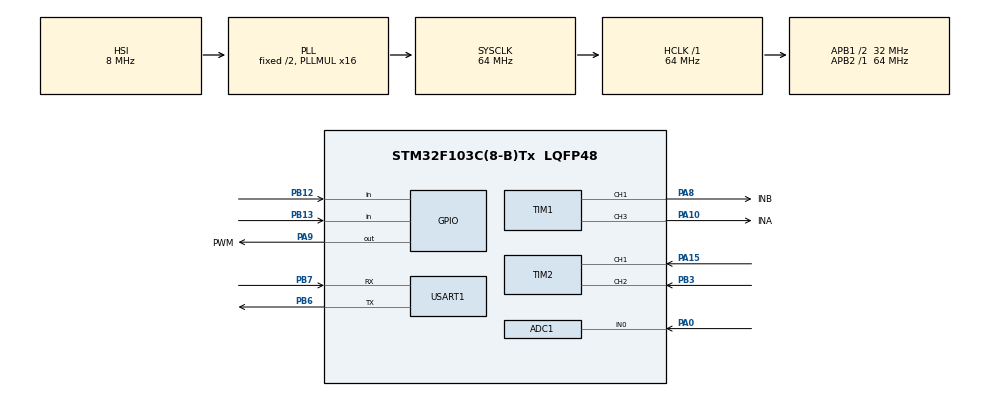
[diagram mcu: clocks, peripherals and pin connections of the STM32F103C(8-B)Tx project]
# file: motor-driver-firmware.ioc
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ADC1.Channel-0\#ChannelRegularConversion=ADC_CHANNEL_0
ADC1.NbrOfConversionFlag=1
ADC1.Rank-0\#ChannelRegularConversion=1
ADC1.SamplingTime-0\#ChannelRegularConversion=ADC_SAMPLETIME_1CYCLE_5
ADC1.master=1
Mcu.Family=STM32F1
Mcu.Name=STM32F103C(8-B)Tx
Mcu.Package=LQFP48
NVIC.PriorityGroup=NVIC_PRIORITYGROUP_4
NVIC.TIM3_IRQn=true\:0\:0\:false\:false\:true\:true\:true
NVIC.USART1_IRQn=true\:0\:0\:false\:false\:true\:true\:true
PA0-WKUP.Signal=ADCx_IN0
PA10.GPIO_Label=INA
PA10.Signal=S_TIM1_CH3
PA13.Mode=Serial_Wire
PA13.Signal=SYS_JTMS-SWDIO
PA14.Mode=Serial_Wire
PA14.Signal=SYS_JTCK-SWCLK
PA15.Signal=S_TIM2_CH1_ETR
PA8.GPIO_Label=INB
PA8.Signal=S_TIM1_CH1
PA9.GPIO_Label=PWM
PA9.PinState=GPIO_PIN_SET
PA9.Signal=GPIO_Output
PB12.GPIO_PuPd=GPIO_PULLUP
PB12.Signal=GPIO_Input
PB13.GPIO_PuPd=GPIO_PULLUP
PB13.Signal=GPIO_Input
PB3.Signal=S_TIM2_CH2
PB6.Mode=Asynchronous
PB6.Signal=USART1_TX
PB7.Mode=Asynchronous
PB7.Signal=USART1_RX
ProjectManager.HeapSize=0x200
ProjectManager.StackSize=0x400
ProjectManager.TargetToolchain=STM32CubeIDE
RCC.ADCPresc=RCC_ADCPCLK2_DIV6
RCC.AHBFreq_Value=64000000
RCC.APB1CLKDivider=RCC_HCLK_DIV2
RCC.APB1Freq_Value=32000000
RCC.APB1TimFreq_Value=64000000
RCC.APB2Freq_Value=64000000
RCC.APB2TimFreq_Value=64000000
RCC.HCLKFreq_Value=64000000
RCC.PLLMUL=RCC_PLL_MUL16
RCC.SYSCLKFreq_VALUE=64000000
RCC.SYSCLKSource=RCC_SYSCLKSOURCE_PLLCLK
RCC.USBFreq_Value=64000000
SH.ADCx_IN0.0=ADC1_IN0,IN0
SH.S_TIM1_CH1.0=TIM1_CH1,PWM Generation1 CH1
SH.S_TIM1_CH3.0=TIM1_CH3,PWM Generation3 CH3
SH.S_TIM2_CH1_ETR.0=TIM2_CH1,Encoder_Interface
SH.S_TIM2_CH2.0=TIM2_CH2,Encoder_Interface
TIM1.Channel-PWM\ Generation1\ CH1=TIM_CHANNEL_1
TIM1.Channel-PWM\ Generation3\ CH3=TIM_CHANNEL_3
USART1.VirtualMode=VM_ASYNC
VP_TIM3_VS_ClockSourceINT.Mode=Internal
board=custom

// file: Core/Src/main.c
/* USER CODE BEGIN Header */
/**
  ******************************************************************************
  * @file           : main.c
  * @brief          : Main program body
  ******************************************************************************
  * @attention
  *
  * <h2><center>&copy; Copyright (c) 2020 STMicroelectronics.
  * All rights reserved.</center></h2>
  *
  * This software component is licensed by ST under BSD 3-Clause license,
  * the "License"; You may not use this file except in compliance with the
  * License. You may obtain a copy of the License at:
  *                        opensource.org/licenses/BSD-3-Clause
  *
  ******************************************************************************
  */
/* USER CODE END Header */
#include "main.h"

/* USER CODE BEGIN Includes */
#include "stdlib.h"
#include "math.h"
/* USER CODE END Includes */

ADC_HandleTypeDef hadc1;

TIM_HandleTypeDef htim1;
TIM_HandleTypeDef htim2;
TIM_HandleTypeDef htim3;

UART_HandleTypeDef huart1;

void SystemClock_Config(void);
static void MX_GPIO_Init(void);
static void MX_TIM1_Init(void);
static void MX_TIM2_Init(void);
static void MX_TIM3_Init(void);
static void MX_USART1_UART_Init(void);
static void MX_ADC1_Init(void);

/* USER CODE BEGIN 0 */

int setpoint = 0;
float kp = 200.0;
int16_t currentPosition;
int error;
float integral = 0;
float ki = 1.0;
float integralLimit = 1000;
float integralFallOff = 10;
int isMoving = 0;

/**
 * This PI controller runs at a fixed rate controlled by Timer 3's ISR. See stm32f1xx_it.c's TIM3_IRQHandler() function for the call into this function.
 */
void motorTask() {
	// since we're using TIM2's hardware encoder mode, we can retrieve the current encoder value by simply reading the timer's counter
	currentPosition = (int16_t)TIM2->CNT;

	error = setpoint - currentPosition;

	if(abs(error) < 5)
	{
		// kind of a hacky toggle state machine to print "Reached" once we get *close* to the setpoint, and to do so only once.
		if(isMoving)
			HAL_UART_Transmit(&huart1, "Reached\r\n", sizeof("Reached\r\n"), 100);

		isMoving = 0;
	}

	int forward = error > 0;
	integral += error;
	integral = fmaxf(fminf(integral, integralLimit), -integralLimit); // hack so that our integral doesn't blow up

	// more hacks
	if(integral > 0)
		integral -= integralFallOff;
	if(integral < 0)
		integral += integralFallOff;

	// this is our actual PI controller update function
	float output = (kp * abs(error)) + (ki * integral);

	// clip to a 16-bit value (our PWM timer's register size)
	int dutyCycle = fminf(output, 0xFFFF);

	// depending on direction, we'll either PWM the INA or INB pin
	if(!forward)
	{
		TIM1->CCR1 = 0;			// INB = LOW
		TIM1->CCR3 = dutyCycle;	// INA = PWM
	} else {
		TIM1->CCR1 = dutyCycle; // INB = PWM
		TIM1->CCR3 = 0;			// INA = LOW
	}
}

/****
 * UART RX code
 *
 * This callback executes whenever a byte is received
 */
uint8_t line[255];
uint8_t output[255];
int column = 0;
int newSetpoint;
void HAL_UART_RxCpltCallback(UART_HandleTypeDef *huart)
{
	char rxChar = line[column-1];

	// echo the character back to the user so they can see what they typed
	HAL_UART_Transmit(&huart1, &rxChar, 1, 100);

	if(rxChar == '\r' || rxChar == '\n' || column >= 255)
	{
		// we found a carriage return or we're out of bytes. Go ahead and process the line
		switch(line[0]) // for simplicity, limit commands to a single letter
		{
		case 'g':
			// got a setpoint command
			newSetpoint = atoi(&line[2]);
			if(newSetpoint != setpoint)
			{
				setpoint = newSetpoint;
				isMoving = 1;
			}
			sprintf(output, "\r\nGO %d...", setpoint);
			HAL_UART_Transmit(&huart1, output, sizeof(output), 100);
			break;

		// add more commands here
		// case 's': // print the status
		// ...

		}

		column = 0; // reset the line buffer
	}

	HAL_UART_Receive_IT(&huart1, &line[column++], 1); // request another byte
}

/* USER CODE END 0 */

int main(void)
{

  /* MCU Configuration--------------------------------------------------------*/

  /* Reset of all peripherals, Initializes the Flash interface and the Systick. */
  HAL_Init();

  /* Configure the system clock */
  SystemClock_Config();

  /* Initialize all configured peripherals */
  MX_GPIO_Init();
  MX_TIM1_Init();
  MX_TIM2_Init();
  MX_TIM3_Init();
  MX_USART1_UART_Init();
  MX_ADC1_Init();
  /* USER CODE BEGIN 2 */
  HAL_TIM_PWM_Start(&htim1, TIM_CHANNEL_1);
  HAL_TIM_PWM_Start(&htim1, TIM_CHANNEL_3);
  HAL_TIM_Encoder_Start(&htim2, TIM_CHANNEL_ALL);
  HAL_TIM_Base_Start_IT(&htim3);

  HAL_UART_Receive_IT(&huart1, &line[column++], 1);
  uint8_t data[] = "STM32 Motor Driver, v1.0\r\n";
  HAL_UART_Transmit(&huart1, data, sizeof(data), 1000);
  /* USER CODE END 2 */

  /* Infinite loop */
  while (1)
  {

    /* USER CODE BEGIN 3 */
	  if(HAL_GPIO_ReadPin(GPIOB, GPIO_PIN_12) == 0)
	  {
		  setpoint = 0;
	  }

	  else if(HAL_GPIO_ReadPin(GPIOB, GPIO_PIN_13) == 0)
	  {
		  setpoint = 5000;
	  }

	  HAL_Delay(100); // debounce

  }
  /* USER CODE END 3 */
}

void SystemClock_Config(void)
{
  RCC_OscInitTypeDef RCC_OscInitStruct = {0};
  RCC_ClkInitTypeDef RCC_ClkInitStruct = {0};
  RCC_PeriphCLKInitTypeDef PeriphClkInit = {0};

  /** Initializes the RCC Oscillators according to the specified parameters
  * in the RCC_OscInitTypeDef structure.
  */
  RCC_OscInitStruct.OscillatorType = RCC_OSCILLATORTYPE_HSI;
  RCC_OscInitStruct.HSIState = RCC_HSI_ON;
  RCC_OscInitStruct.HSICalibrationValue = RCC_HSICALIBRATION_DEFAULT;
  RCC_OscInitStruct.PLL.PLLState = RCC_PLL_ON;
  RCC_OscInitStruct.PLL.PLLSource = RCC_PLLSOURCE_HSI_DIV2;
  RCC_OscInitStruct.PLL.PLLMUL = RCC_PLL_MUL16;
  if (HAL_RCC_OscConfig(&RCC_OscInitStruct) != HAL_OK)
  {
    Error_Handler();
  }
  /** Initializes the CPU, AHB and APB buses clocks
  */
  RCC_ClkInitStruct.ClockType = RCC_CLOCKTYPE_HCLK|RCC_CLOCKTYPE_SYSCLK
                              |RCC_CLOCKTYPE_PCLK1|RCC_CLOCKTYPE_PCLK2;
  RCC_ClkInitStruct.SYSCLKSource = RCC_SYSCLKSOURCE_PLLCLK;
  RCC_ClkInitStruct.AHBCLKDivider = RCC_SYSCLK_DIV1;
  RCC_ClkInitStruct.APB1CLKDivider = RCC_HCLK_DIV2;
  RCC_ClkInitStruct.APB2CLKDivider = RCC_HCLK_DIV1;

  if (HAL_RCC_ClockConfig(&RCC_ClkInitStruct, FLASH_LATENCY_2) != HAL_OK)
  {
    Error_Handler();
  }
  PeriphClkInit.PeriphClockSelection = RCC_PERIPHCLK_ADC;
  PeriphClkInit.AdcClockSelection = RCC_ADCPCLK2_DIV6;
  if (HAL_RCCEx_PeriphCLKConfig(&PeriphClkInit) != HAL_OK)
  {
    Error_Handler();
  }
}

static void MX_ADC1_Init(void)
{

  ADC_ChannelConfTypeDef sConfig = {0};

  /** Common config
  */
  hadc1.Instance = ADC1;
  hadc1.Init.ScanConvMode = ADC_SCAN_DISABLE;
  hadc1.Init.ContinuousConvMode = DISABLE;
  hadc1.Init.DiscontinuousConvMode = DISABLE;
  hadc1.Init.ExternalTrigConv = ADC_SOFTWARE_START;
  hadc1.Init.DataAlign = ADC_DATAALIGN_RIGHT;
  hadc1.Init.NbrOfConversion = 1;
  if (HAL_ADC_Init(&hadc1) != HAL_OK)
  {
    Error_Handler();
  }
  /** Configure Regular Channel
  */
  sConfig.Channel = ADC_CHANNEL_0;
  sConfig.Rank = ADC_REGULAR_RANK_1;
  sConfig.SamplingTime = ADC_SAMPLETIME_1CYCLE_5;
  if (HAL_ADC_ConfigChannel(&hadc1, &sConfig) != HAL_OK)
  {
    Error_Handler();
  }

}

static void MX_TIM1_Init(void)
{

  TIM_MasterConfigTypeDef sMasterConfig = {0};
  TIM_OC_InitTypeDef sConfigOC = {0};
  TIM_BreakDeadTimeConfigTypeDef sBreakDeadTimeConfig = {0};

  htim1.Instance = TIM1;
  htim1.Init.Prescaler = 0;
  htim1.Init.CounterMode = TIM_COUNTERMODE_UP;
  htim1.Init.Period = 65535;
  htim1.Init.ClockDivision = TIM_CLOCKDIVISION_DIV1;
  htim1.Init.RepetitionCounter = 0;
  htim1.Init.AutoReloadPreload = TIM_AUTORELOAD_PRELOAD_DISABLE;
  if (HAL_TIM_PWM_Init(&htim1) != HAL_OK)
  {
    Error_Handler();
  }
  sMasterConfig.MasterOutputTrigger = TIM_TRGO_RESET;
  sMasterConfig.MasterSlaveMode = TIM_MASTERSLAVEMODE_DISABLE;
  if (HAL_TIMEx_MasterConfigSynchronization(&htim1, &sMasterConfig) != HAL_OK)
  {
    Error_Handler();
  }
  sConfigOC.OCMode = TIM_OCMODE_PWM1;
  sConfigOC.Pulse = 0;
  sConfigOC.OCPolarity = TIM_OCPOLARITY_HIGH;
  sConfigOC.OCNPolarity = TIM_OCNPOLARITY_HIGH;
  sConfigOC.OCFastMode = TIM_OCFAST_DISABLE;
  sConfigOC.OCIdleState = TIM_OCIDLESTATE_RESET;
  sConfigOC.OCNIdleState = TIM_OCNIDLESTATE_RESET;
  if (HAL_TIM_PWM_ConfigChannel(&htim1, &sConfigOC, TIM_CHANNEL_1) != HAL_OK)
  {
    Error_Handler();
  }
  if (HAL_TIM_PWM_ConfigChannel(&htim1, &sConfigOC, TIM_CHANNEL_3) != HAL_OK)
  {
    Error_Handler();
  }
  sBreakDeadTimeConfig.OffStateRunMode = TIM_OSSR_DISABLE;
  sBreakDeadTimeConfig.OffStateIDLEMode = TIM_OSSI_DISABLE;
  sBreakDeadTimeConfig.LockLevel = TIM_LOCKLEVEL_OFF;
  sBreakDeadTimeConfig.DeadTime = 0;
  sBreakDeadTimeConfig.BreakState = TIM_BREAK_DISABLE;
  sBreakDeadTimeConfig.BreakPolarity = TIM_BREAKPOLARITY_HIGH;
  sBreakDeadTimeConfig.AutomaticOutput = TIM_AUTOMATICOUTPUT_DISABLE;
  if (HAL_TIMEx_ConfigBreakDeadTime(&htim1, &sBreakDeadTimeConfig) != HAL_OK)
  {
    Error_Handler();
  }
  HAL_TIM_MspPostInit(&htim1);

}

static void MX_TIM2_Init(void)
{

  TIM_Encoder_InitTypeDef sConfig = {0};
  TIM_MasterConfigTypeDef sMasterConfig = {0};

  htim2.Instance = TIM2;
  htim2.Init.Prescaler = 0;
  htim2.Init.CounterMode = TIM_COUNTERMODE_UP;
  htim2.Init.Period = 65535;
  htim2.Init.ClockDivision = TIM_CLOCKDIVISION_DIV1;
  htim2.Init.AutoReloadPreload = TIM_AUTORELOAD_PRELOAD_DISABLE;
  sConfig.EncoderMode = TIM_ENCODERMODE_TI1;
  sConfig.IC1Polarity = TIM_ICPOLARITY_RISING;
  sConfig.IC1Selection = TIM_ICSELECTION_DIRECTTI;
  sConfig.IC1Prescaler = TIM_ICPSC_DIV1;
  sConfig.IC1Filter = 0;
  sConfig.IC2Polarity = TIM_ICPOLARITY_RISING;
  sConfig.IC2Selection = TIM_ICSELECTION_DIRECTTI;
  sConfig.IC2Prescaler = TIM_ICPSC_DIV1;
  sConfig.IC2Filter = 0;
  if (HAL_TIM_Encoder_Init(&htim2, &sConfig) != HAL_OK)
  {
    Error_Handler();
  }
  sMasterConfig.MasterOutputTrigger = TIM_TRGO_RESET;
  sMasterConfig.MasterSlaveMode = TIM_MASTERSLAVEMODE_DISABLE;
  if (HAL_TIMEx_MasterConfigSynchronization(&htim2, &sMasterConfig) != HAL_OK)
  {
    Error_Handler();
  }

}

static void MX_TIM3_Init(void)
{

  TIM_ClockConfigTypeDef sClockSourceConfig = {0};
  TIM_MasterConfigTypeDef sMasterConfig = {0};

  htim3.Instance = TIM3;
  htim3.Init.Prescaler = 0;
  htim3.Init.CounterMode = TIM_COUNTERMODE_UP;
  htim3.Init.Period = 65535;
  htim3.Init.ClockDivision = TIM_CLOCKDIVISION_DIV1;
  htim3.Init.AutoReloadPreload = TIM_AUTORELOAD_PRELOAD_DISABLE;
  if (HAL_TIM_Base_Init(&htim3) != HAL_OK)
  {
    Error_Handler();
  }
  sClockSourceConfig.ClockSource = TIM_CLOCKSOURCE_INTERNAL;
  if (HAL_TIM_ConfigClockSource(&htim3, &sClockSourceConfig) != HAL_OK)
  {
    Error_Handler();
  }
  sMasterConfig.MasterOutputTrigger = TIM_TRGO_RESET;
  sMasterConfig.MasterSlaveMode = TIM_MASTERSLAVEMODE_DISABLE;
  if (HAL_TIMEx_MasterConfigSynchronization(&htim3, &sMasterConfig) != HAL_OK)
  {
    Error_Handler();
  }

}

static void MX_USART1_UART_Init(void)
{

  huart1.Instance = USART1;
  huart1.Init.BaudRate = 115200;
  huart1.Init.WordLength = UART_WORDLENGTH_8B;
  huart1.Init.StopBits = UART_STOPBITS_1;
  huart1.Init.Parity = UART_PARITY_NONE;
  huart1.Init.Mode = UART_MODE_TX_RX;
  huart1.Init.HwFlowCtl = UART_HWCONTROL_NONE;
  huart1.Init.OverSampling = UART_OVERSAMPLING_16;
  if (HAL_UART_Init(&huart1) != HAL_OK)
  {
    Error_Handler();
  }

}

static void MX_GPIO_Init(void)
{
  GPIO_InitTypeDef GPIO_InitStruct = {0};

  /* GPIO Ports Clock Enable */
  __HAL_RCC_GPIOA_CLK_ENABLE();
  __HAL_RCC_GPIOB_CLK_ENABLE();

  /*Configure GPIO pin Output Level */
  HAL_GPIO_WritePin(PWM_GPIO_Port, PWM_Pin, GPIO_PIN_SET);

  /*Configure GPIO pins : PB12 PB13 */
  GPIO_InitStruct.Pin = GPIO_PIN_12|GPIO_PIN_13;
  GPIO_InitStruct.Mode = GPIO_MODE_INPUT;
  GPIO_InitStruct.Pull = GPIO_PULLUP;
  HAL_GPIO_Init(GPIOB, &GPIO_InitStruct);

  /*Configure GPIO pin : PWM_Pin */
  GPIO_InitStruct.Pin = PWM_Pin;
  GPIO_InitStruct.Mode = GPIO_MODE_OUTPUT_PP;
  GPIO_InitStruct.Pull = GPIO_NOPULL;
  GPIO_InitStruct.Speed = GPIO_SPEED_FREQ_LOW;
  HAL_GPIO_Init(PWM_GPIO_Port, &GPIO_InitStruct);

}

void Error_Handler(void)
{
}

/************************ (C) COPYRIGHT STMicroelectronics *****END OF FILE****/
